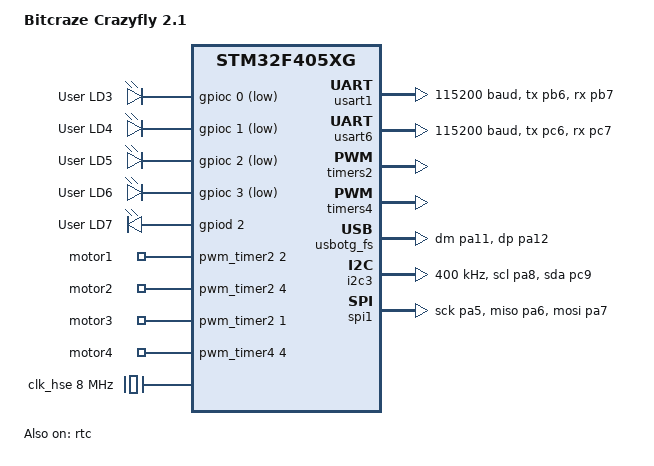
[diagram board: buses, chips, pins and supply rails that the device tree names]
/*
 * Copyright (c) 2017 Linaro Limited
 *
 * SPDX-License-Identifier: Apache-2.0
 */

/dts-v1/;
#include <st/f4/stm32f405Xg.dtsi>
#include <st/f4/stm32f405rgtx-pinctrl.dtsi>

/ {
	model = "Bitcraze Crazyfly 2.1";
	compatible = "st,stm32f4discovery";

	chosen {
		zephyr,console = &cdc_acm_uart0;
		zephyr,shell-uart = &cdc_acm_uart0;
		zephyr,uart-mcumgr = &cdc_acm_uart0;
		zephyr,sram = &sram0;
		zephyr,flash = &flash0;
		zephyr,ccm = &ccm0;
	};

	leds {
		compatible = "gpio-leds";
		red_led_left: red_led_left {
			gpios = <&gpioc 0 GPIO_ACTIVE_LOW>;
			label = "User LD3";
		};
		green_led_left: green_led_left {
			gpios = <&gpioc 1 GPIO_ACTIVE_LOW>;
			label = "User LD4";
		};
		green_led_right: green_led_right {
			gpios = <&gpioc 2 GPIO_ACTIVE_LOW>;
			label = "User LD5";
		};
		red_led_right: red_led_right {
			gpios = <&gpioc 3 GPIO_ACTIVE_LOW>;
			label = "User LD6";
		};

		blue_led_left: blue_led_left {
			gpios = <&gpiod 2 GPIO_ACTIVE_HIGH>;
			label = "User LD7";
		};
	};

	pwmleds {
		compatible = "pwm-leds";
		motor1: motor1 {
			pwms = <&pwm_timer2 2 PWM_KHZ(2) PWM_POLARITY_NORMAL>;
		};
		motor2: motor2 {
			pwms = <&pwm_timer2 4 PWM_KHZ(2) PWM_POLARITY_NORMAL>;
		};
		motor3: motor3 {
			pwms = <&pwm_timer2 1 PWM_KHZ(2) PWM_POLARITY_NORMAL>;
		};
		motor4: motor4 {
			pwms = <&pwm_timer4 4 PWM_KHZ(2) PWM_POLARITY_NORMAL>;
		};
	};

	aliases {
		led1 = &red_led_left;
		led2 = &green_led_left;
		led3 = &green_led_right;
		led4 = &red_led_right;
		led5 = &blue_led_left;
		motor1 = &motor1;
		motor2 = &motor2;
		motor3 = &motor3;
		motor4 = &motor4;
	};
};

&usart1 {
	pinctrl-0 = <&usart1_tx_pb6 &usart1_rx_pb7>;
	pinctrl-names = "default";
	current-speed = <115200>;
	status = "okay";
};

&clk_hse {
	clock-frequency = <DT_FREQ_M(8)>;
	status = "okay";
};

&pll {
	div-m = <4>;
	mul-n = <168>;
	div-p = <2>;
	div-q = <7>;
	clocks = <&clk_hse>;
	status = "okay";
};

&rcc {
	clocks = <&pll>;
	clock-frequency = <DT_FREQ_M(168)>;
	ahb-prescaler = <1>;
	apb1-prescaler = <4>;
	apb2-prescaler = <2>;
};

&usart6 {
	pinctrl-0 = <&usart6_tx_pc6 &usart6_rx_pc7>;
	pinctrl-names = "default";
	current-speed = <115200>;

	dmas = <&dma2 6 5 0x28440 0x03>,
		   <&dma2 1 5 0x28480 0x03>;
	dma-names = "tx", "rx";
	status = "okay";
};



&dma2 {
	status = "okay";
};

&timers2 {
	status = "okay";

	pwm_timer2: pwm {
		status = "okay";
		pinctrl-0 = <&tim2_ch2_pa1 &tim2_ch4_pb11 &tim2_ch1_pa15>;
		pinctrl-names = "default";
	};
};



&timers4 {
	status = "okay";

	pwm_timer4: pwm {
		status = "okay";
		pinctrl-0 = <&tim4_ch4_pb9>;
		pinctrl-names = "default";
	};
};

&rtc {
	status = "okay";
};

zephyr_udc0: &usbotg_fs {
	pinctrl-0 = <&usb_otg_fs_dm_pa11 &usb_otg_fs_dp_pa12>;
	pinctrl-names = "default";
	status = "okay";
};

&zephyr_udc0 {
	cdc_acm_uart0: cdc_acm_uart0 {
		compatible = "zephyr,cdc-acm-uart";
	};
};


&i2c3 {
	pinctrl-0 = <&i2c3_scl_pa8 &i2c3_sda_pc9>;
	pinctrl-names = "default";
	status = "okay";
	clock-frequency = <I2C_BITRATE_FAST>;
};

&spi1 {
	pinctrl-0 = <&spi1_sck_pa5 &spi1_miso_pa6 &spi1_mosi_pa7>;
	pinctrl-names = "default";
	cs-gpios = <&gpioa 4 (GPIO_ACTIVE_LOW | GPIO_PULL_UP)>;
	status = "okay";
};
